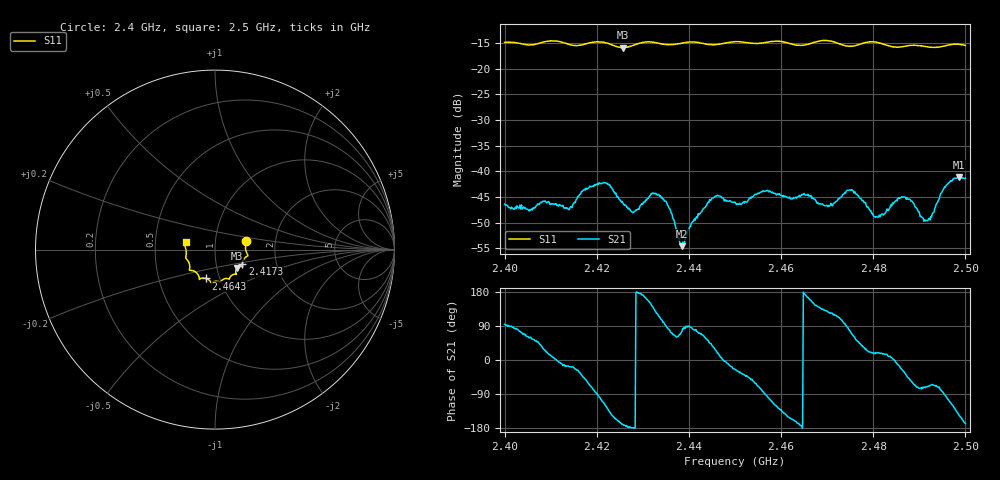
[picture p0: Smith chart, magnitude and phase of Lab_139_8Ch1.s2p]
# Hz S RI R 50
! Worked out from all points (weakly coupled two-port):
!   601 points, 2.4 GHz to 2.5 GHz, reference 50 ohm
!   highest |S21| = -41.09 dB at 2.4987 GHz (marker M1); lowest = -54.6 dB at 2.4385 GHz (marker M2)
!   lowest |S11| = -15.9 dB at 2.4257 GHz (marker M3), VSWR 1.38, Z = 62.4 - j13.2 ohm
!   |S11| at or under -10 dB: start of sweep to end of sweep
!   S12 and S22 are empty: the file has one direction only
!   S11 on the Smith chart (normalised r, x): 2.4 GHz: 1.41, +0.15; 2.4173 GHz: 1.34, -0.23; 2.4643 GHz: 0.86, -0.28; 2.5 GHz: 0.72, +0.06
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2.4e9  0.1733 0.0499  -0.000349 0.00477  0 0  0 0
2.413667e9  0.1682 -0.0441  0.00417 -0.00119  0 0  0 0
2.416667e9  0.1528 -0.0747  0.00494 -0.00398  0 0  0 0
2.417333e9  0.1522 -0.0821  0.00443 -0.00503  0 0  0 0
2.422e9  0.1516 -0.0942  -0.00409 -0.00651  0 0  0 0
2.425667e9  0.1227 -0.1027  -0.00483 -0.00089  0 0  0 0
2.428167e9  0.1151 -0.1253  -0.00404 -9.09e-05  0 0  0 0
2.433333e9  0.1126 -0.1365  -0.00281 0.00525  0 0  0 0
2.4385e9  0.0818 -0.157  0.000446 0.00181  0 0  0 0
2.445e9  0.0556 -0.1618  0.00432 0.00337  0 0  0 0
2.45e9  0.0294 -0.1809  0.00455 -0.00212  0 0  0 0
2.464333e9  -0.0505 -0.1608  -0.00578 -0.000686  0 0  0 0
2.466667e9  -0.0766 -0.1599  -0.00493 0.00239  0 0  0 0
2.470667e9  -0.087 -0.1643  -0.00253 0.00389  0 0  0 0
2.475167e9  -0.1082 -0.1249  0.00196 0.00624  0 0  0 0
2.4805e9  -0.1428 -0.1121  0.00335 0.00118  0 0  0 0
2.483333e9  -0.1408 -0.0895  0.00412 0.000691  0 0  0 0
2.486833e9  -0.155 -0.0574  0.00463 -0.00319  0 0  0 0
2.491833e9  -0.1609 -0.0266  0.00116 -0.0031  0 0  0 0
2.495667e9  -0.1663 0.0168  -0.000527 -0.007  0 0  0 0
2.498667e9  -0.1692 0.0342  -0.00737 -0.00485  0 0  0 0
2.5e9  -0.1633 0.0415  -0.00838 -0.00177  0 0  0 0
